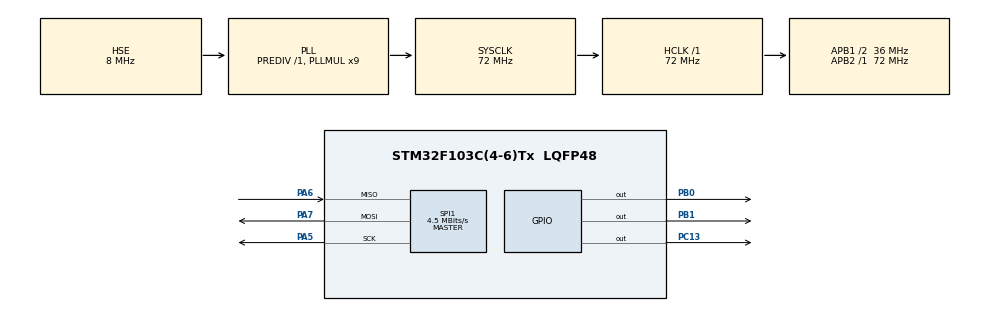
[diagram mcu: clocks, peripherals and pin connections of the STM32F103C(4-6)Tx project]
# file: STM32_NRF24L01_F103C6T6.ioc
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Mcu.Family=STM32F1
Mcu.Name=STM32F103C(4-6)Tx
Mcu.Package=LQFP48
NVIC.PriorityGroup=NVIC_PRIORITYGROUP_4
PA13.Mode=Serial_Wire
PA13.Signal=SYS_JTMS-SWDIO
PA14.Mode=Serial_Wire
PA14.Signal=SYS_JTCK-SWCLK
PA5.Mode=Full_Duplex_Master
PA5.Signal=SPI1_SCK
PA6.Mode=Full_Duplex_Master
PA6.Signal=SPI1_MISO
PA7.Mode=Full_Duplex_Master
PA7.Signal=SPI1_MOSI
PB0.Signal=GPIO_Output
PB1.Signal=GPIO_Output
PC13-TAMPER-RTC.Signal=GPIO_Output
PD0-OSC_IN.Mode=HSE-External-Oscillator
PD0-OSC_IN.Signal=RCC_OSC_IN
PD1-OSC_OUT.Mode=HSE-External-Oscillator
PD1-OSC_OUT.Signal=RCC_OSC_OUT
ProjectManager.HeapSize=0x200
ProjectManager.StackSize=0x400
ProjectManager.TargetToolchain=STM32CubeIDE
RCC.AHBFreq_Value=72000000
RCC.APB1CLKDivider=RCC_HCLK_DIV2
RCC.APB1Freq_Value=36000000
RCC.APB1TimFreq_Value=72000000
RCC.APB2Freq_Value=72000000
RCC.APB2TimFreq_Value=72000000
RCC.HCLKFreq_Value=72000000
RCC.PLLMUL=RCC_PLL_MUL9
RCC.PLLSourceVirtual=RCC_PLLSOURCE_HSE
RCC.SYSCLKFreq_VALUE=72000000
RCC.SYSCLKSource=RCC_SYSCLKSOURCE_PLLCLK
RCC.USBFreq_Value=72000000
SPI1.BaudRatePrescaler=SPI_BAUDRATEPRESCALER_16
SPI1.CalculateBaudRate=4.5 MBits/s
SPI1.Direction=SPI_DIRECTION_2LINES
SPI1.Mode=SPI_MODE_MASTER
SPI1.VirtualType=VM_MASTER
board=custom

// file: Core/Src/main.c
/* USER CODE BEGIN Header */
/**
  ******************************************************************************
  * @file           : main.c
  * @brief          : Main program body
  ******************************************************************************
  * @attention
  *
  * Copyright (c) 2025 STMicroelectronics.
  * All rights reserved.
  *
  * This software is licensed under terms that can be found in the LICENSE file
  * in the root directory of this software component.
  * If no LICENSE file comes with this software, it is provided AS-IS.
  *
  ******************************************************************************
  */
/* USER CODE END Header */
#include "main.h"

SPI_HandleTypeDef hspi1;

void SystemClock_Config(void);
static void MX_GPIO_Init(void);
static void MX_SPI1_Init(void);

/* USER CODE BEGIN 0 */

#include "NRF24L01.h"

#define CE_PORT 	GPIOB
#define CE_PIN  	GPIO_PIN_0

#define CS_PORT 	GPIOB
#define CS_PIN  	GPIO_PIN_1

uint8_t TxAddress[]={0xEE, 0xDD, 0xCC, 0xBB, 0xAA};
uint8_t TxData[]="Hello World\n";

/* USER CODE END 0 */

int main(void)
{

  /* MCU Configuration--------------------------------------------------------*/

  /* Reset of all peripherals, Initializes the Flash interface and the Systick. */
  HAL_Init();

  /* Configure the system clock */
  SystemClock_Config();

  /* Initialize all configured peripherals */
  MX_GPIO_Init();
  MX_SPI1_Init();
  /* USER CODE BEGIN 2 */

  NRF24L01 nrf24 = {
		  .hspi = &hspi1,
		  .CE={CE_PORT, CE_PIN},
		  .CS={CS_PORT, CS_PIN}
  };

  nrf24_init(&nrf24);

  //For Transmitter
  nrf24_TxMode(&nrf24, TxAddress, 10);

  /* USER CODE END 2 */

  /* Infinite loop */
  while (1)
  {

    /* USER CODE BEGIN 3 */
	//////---> Transmitter Code <---//////
	if(nrf24_Transmit(&nrf24, TxData) == 1)
	{
	  HAL_GPIO_TogglePin(GPIOC, GPIO_PIN_13);
	}
	HAL_Delay(1000);
	//////////////////////////////////////
  }
  /* USER CODE END 3 */
}

void SystemClock_Config(void)
{
  RCC_OscInitTypeDef RCC_OscInitStruct = {0};
  RCC_ClkInitTypeDef RCC_ClkInitStruct = {0};

  /** Initializes the RCC Oscillators according to the specified parameters
  * in the RCC_OscInitTypeDef structure.
  */
  RCC_OscInitStruct.OscillatorType = RCC_OSCILLATORTYPE_HSE;
  RCC_OscInitStruct.HSEState = RCC_HSE_ON;
  RCC_OscInitStruct.HSEPredivValue = RCC_HSE_PREDIV_DIV1;
  RCC_OscInitStruct.HSIState = RCC_HSI_ON;
  RCC_OscInitStruct.PLL.PLLState = RCC_PLL_ON;
  RCC_OscInitStruct.PLL.PLLSource = RCC_PLLSOURCE_HSE;
  RCC_OscInitStruct.PLL.PLLMUL = RCC_PLL_MUL9;
  if (HAL_RCC_OscConfig(&RCC_OscInitStruct) != HAL_OK)
  {
    Error_Handler();
  }

  /** Initializes the CPU, AHB and APB buses clocks
  */
  RCC_ClkInitStruct.ClockType = RCC_CLOCKTYPE_HCLK|RCC_CLOCKTYPE_SYSCLK
                              |RCC_CLOCKTYPE_PCLK1|RCC_CLOCKTYPE_PCLK2;
  RCC_ClkInitStruct.SYSCLKSource = RCC_SYSCLKSOURCE_PLLCLK;
  RCC_ClkInitStruct.AHBCLKDivider = RCC_SYSCLK_DIV1;
  RCC_ClkInitStruct.APB1CLKDivider = RCC_HCLK_DIV2;
  RCC_ClkInitStruct.APB2CLKDivider = RCC_HCLK_DIV1;

  if (HAL_RCC_ClockConfig(&RCC_ClkInitStruct, FLASH_LATENCY_2) != HAL_OK)
  {
    Error_Handler();
  }
}

static void MX_SPI1_Init(void)
{

  /* SPI1 parameter configuration*/
  hspi1.Instance = SPI1;
  hspi1.Init.Mode = SPI_MODE_MASTER;
  hspi1.Init.Direction = SPI_DIRECTION_2LINES;
  hspi1.Init.DataSize = SPI_DATASIZE_8BIT;
  hspi1.Init.CLKPolarity = SPI_POLARITY_LOW;
  hspi1.Init.CLKPhase = SPI_PHASE_1EDGE;
  hspi1.Init.NSS = SPI_NSS_SOFT;
  hspi1.Init.BaudRatePrescaler = SPI_BAUDRATEPRESCALER_16;
  hspi1.Init.FirstBit = SPI_FIRSTBIT_MSB;
  hspi1.Init.TIMode = SPI_TIMODE_DISABLE;
  hspi1.Init.CRCCalculation = SPI_CRCCALCULATION_DISABLE;
  hspi1.Init.CRCPolynomial = 10;
  if (HAL_SPI_Init(&hspi1) != HAL_OK)
  {
    Error_Handler();
  }

}

static void MX_GPIO_Init(void)
{
  GPIO_InitTypeDef GPIO_InitStruct = {0};

  /* GPIO Ports Clock Enable */
  __HAL_RCC_GPIOC_CLK_ENABLE();
  __HAL_RCC_GPIOD_CLK_ENABLE();
  __HAL_RCC_GPIOA_CLK_ENABLE();
  __HAL_RCC_GPIOB_CLK_ENABLE();

  /*Configure GPIO pin Output Level */
  HAL_GPIO_WritePin(GPIOC, GPIO_PIN_13, GPIO_PIN_RESET);

  /*Configure GPIO pin Output Level */
  HAL_GPIO_WritePin(GPIOB, GPIO_PIN_0|GPIO_PIN_1, GPIO_PIN_RESET);

  /*Configure GPIO pin : PC13 */
  GPIO_InitStruct.Pin = GPIO_PIN_13;
  GPIO_InitStruct.Mode = GPIO_MODE_OUTPUT_PP;
  GPIO_InitStruct.Pull = GPIO_NOPULL;
  GPIO_InitStruct.Speed = GPIO_SPEED_FREQ_LOW;
  HAL_GPIO_Init(GPIOC, &GPIO_InitStruct);

  /*Configure GPIO pins : PB0 PB1 */
  GPIO_InitStruct.Pin = GPIO_PIN_0|GPIO_PIN_1;
  GPIO_InitStruct.Mode = GPIO_MODE_OUTPUT_PP;
  GPIO_InitStruct.Pull = GPIO_NOPULL;
  GPIO_InitStruct.Speed = GPIO_SPEED_FREQ_LOW;
  HAL_GPIO_Init(GPIOB, &GPIO_InitStruct);

}

void Error_Handler(void)
{
  __disable_irq();
  while (1)
  {
  }
}
